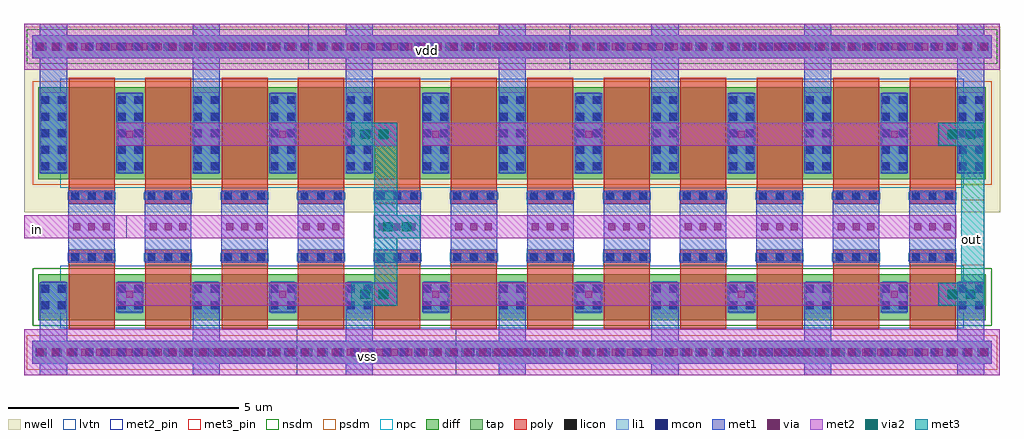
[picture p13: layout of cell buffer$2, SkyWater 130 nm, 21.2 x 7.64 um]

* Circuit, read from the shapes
.subckt buffer$2 in out vdd vss
XM1 n1 in vss vss sky130_fd_pr__nfet_01v8_lvt w=1 l=1 m=4
XM2 out n1 vss vss sky130_fd_pr__nfet_01v8_lvt w=1 l=1 m=8
XM3 n1 in vdd vdd sky130_fd_pr__pfet_01v8_lvt w=2 l=1 m=4
XM4 out n1 vdd vdd sky130_fd_pr__pfet_01v8_lvt w=2 l=1 m=8
.ends

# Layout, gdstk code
from math import pi, radians
import gdstk
lib = gdstk.Library(unit=1e-6, precision=5e-09)
def R(c, l, rs):  # rectangles x0, y0, x1, y1
    for r in rs: c.add(gdstk.rectangle(r[:2], r[2:], *l))
def A(c, l, x, y, w, h, nx, ny, dx, dy):  # array of equal rectangles
    R(c, l, [(x+i*dx, y+j*dy, x+i*dx+w, y+j*dy+h) for i in range(nx) for j in range(ny)])
nwell = (64, 20)
diff = (65, 20)
tap = (65, 44)
poly = (66, 20)
licon = (66, 44)
li1 = (67, 20)
mcon = (67, 44)
met1 = (68, 20)
via = (68, 44)
met2_pin = (69, 16)
met2 = (69, 20)
via2 = (69, 44)
met3_pin = (70, 16)
met3 = (70, 20)
nsdm = (93, 44)
psdm = (94, 20)
npc = (95, 20)
lvtn = (125, 44)

pfet_9 = lib.new_cell('pfet$9')
R(pfet_9, nwell, [(-0.305,-0.38,2.625,2.72)])
R(pfet_9, diff, [(0,0,2.32,2)])
R(pfet_9, poly, [(0.66,-0.2,1.66,2.2), (0.66,2.2,1.66,2.53)])
A(pfet_9, licon, 0.065, 0.195, 0.17, 0.17, 1, 5, 0, 0.36)
A(pfet_9, licon, 0.425, 0.195, 0.17, 0.17, 1, 5, 0, 0.36)
A(pfet_9, licon, 1.725, 0.195, 0.17, 0.17, 1, 5, 0, 0.36)
A(pfet_9, licon, 2.085, 0.195, 0.17, 0.17, 1, 5, 0, 0.36)
A(pfet_9, licon, 0.715, 2.28, 0.17, 0.17, 3, 1, 0.36, 0)
R(pfet_9, li1, [(0.065,0.115,0.595,1.885), (1.725,0.115,2.255,1.885), (0.635,2.28,1.685,2.45)])
A(pfet_9, mcon, 0.065, 0.195, 0.17, 0.17, 1, 5, 0, 0.36)
A(pfet_9, mcon, 0.425, 0.195, 0.17, 0.17, 1, 5, 0, 0.36)
A(pfet_9, mcon, 1.725, 0.195, 0.17, 0.17, 1, 5, 0, 0.36)
A(pfet_9, mcon, 2.085, 0.195, 0.17, 0.17, 1, 5, 0, 0.36)
A(pfet_9, mcon, 0.715, 2.28, 0.17, 0.17, 3, 1, 0.36, 0)
R(pfet_9, met1, [(0.035,0.135,0.625,1.865), (1.695,0.135,2.285,1.865), (0.655,2.25,1.665,2.48)])
R(pfet_9, psdm, [(-0.125,-0.125,2.445,2.125)])
R(pfet_9, npc, [(0.65,2.19,1.67,2.54)])
R(pfet_9, lvtn, [(0.48,-0.18,1.84,2.18)])

nfet_10 = lib.new_cell('nfet$10')
R(nfet_10, diff, [(0,0,2.32,1)])
R(nfet_10, poly, [(0.66,-0.2,1.66,1.2), (0.66,1.2,1.66,1.53)])
A(nfet_10, licon, 0.715, 1.28, 0.17, 0.17, 3, 1, 0.36, 0)
R(nfet_10, licon, [(0.065,0.235,0.235,0.405), (0.425,0.235,0.595,0.405), (1.725,0.235,1.895,0.405), (2.085,0.235,2.255,0.405), (0.065,0.595,0.235,0.765), (0.425,0.595,0.595,0.765), (1.725,0.595,1.895,0.765), (2.085,0.595,2.255,0.765)])
R(nfet_10, li1, [(0.065,0.155,0.595,0.845), (1.725,0.155,2.255,0.845), (0.635,1.28,1.685,1.45)])
A(nfet_10, mcon, 0.715, 1.28, 0.17, 0.17, 3, 1, 0.36, 0)
R(nfet_10, mcon, [(0.065,0.235,0.235,0.405), (0.425,0.235,0.595,0.405), (1.725,0.235,1.895,0.405), (2.085,0.235,2.255,0.405), (0.065,0.595,0.235,0.765), (0.425,0.595,0.595,0.765), (1.725,0.595,1.895,0.765), (2.085,0.595,2.255,0.765)])
R(nfet_10, met1, [(0.035,0.175,0.625,0.825), (1.695,0.175,2.285,0.825), (0.655,1.25,1.665,1.48)])
R(nfet_10, nsdm, [(-0.125,-0.125,2.445,1.125)])
R(nfet_10, npc, [(0.65,1.19,1.67,1.54)])
R(nfet_10, lvtn, [(0.48,-0.18,1.84,1.18)])

vias_gen_44 = lib.new_cell('vias_gen$44')
R(vias_gen_44, met1, [(0,0,1,0.5)])
A(vias_gen_44, via, 0.105, 0.175, 0.15, 0.15, 3, 1, 0.32, 0)
R(vias_gen_44, met2, [(0,0,1,0.5)])

vias_gen_3_9 = lib.new_cell('vias_gen$3$9')
R(vias_gen_3_9, met1, [(0,0,0.5,0.59)])
R(vias_gen_3_9, via, [(0.175,0.22,0.325,0.37)])
R(vias_gen_3_9, met2, [(0,0,0.5,0.59)])

vias_gen_5_2 = lib.new_cell('vias_gen$5$2')
R(vias_gen_5_2, met2, [(0,0,1,0.5)])
R(vias_gen_5_2, via2, [(0.2,0.15,0.4,0.35), (0.6,0.15,0.8,0.35)])
R(vias_gen_5_2, met3, [(0,0,1,0.5)])

vias_gen_4_2 = lib.new_cell('vias_gen$4$2')
R(vias_gen_4_2, nwell, [(-0.18,-0.18,21.015,0.68)])
R(vias_gen_4_2, tap, [(0,0,20.835,0.5)])
A(vias_gen_4_2, licon, 0.13, 0.165, 0.17, 0.17, 61, 1, 0.34, 0)
R(vias_gen_4_2, li1, [(0,0,20.835,0.5)])
A(vias_gen_4_2, mcon, 0.07, 0.165, 0.17, 0.17, 58, 1, 0.36, 0)
R(vias_gen_4_2, met1, [(0,0,20.835,0.5)])
A(vias_gen_4_2, via, 0.105, 0.175, 0.15, 0.15, 65, 1, 0.32, 0)
R(vias_gen_4_2, met2, [(0,0,20.835,0.5)])
R(vias_gen_4_2, nsdm, [(-0.125,-0.125,20.96,0.625)])

vias_gen_6_7 = lib.new_cell('vias_gen$6$7')
R(vias_gen_6_7, tap, [(0,0,20.835,0.5)])
A(vias_gen_6_7, licon, 0.13, 0.165, 0.17, 0.17, 61, 1, 0.34, 0)
R(vias_gen_6_7, li1, [(0,0,20.835,0.5)])
A(vias_gen_6_7, mcon, 0.07, 0.165, 0.17, 0.17, 58, 1, 0.36, 0)
R(vias_gen_6_7, met1, [(0,0,20.835,0.5)])
A(vias_gen_6_7, via, 0.105, 0.175, 0.15, 0.15, 65, 1, 0.32, 0)
R(vias_gen_6_7, met2, [(0,0,20.835,0.5)])
R(vias_gen_6_7, psdm, [(-0.125,-0.125,20.96,0.625)])

buffer_2 = lib.new_cell('buffer$2')
R(buffer_2, nwell, [(0,3.54,21.195,7.57)])
A(buffer_2, met1, 0.965, 2.45, 1.01, 1.56, 12, 1, 1.66, 0)
R(buffer_2, met2_pin, [(5.92,0,9.39,1), (0,2.98,2.23,3.48), (6.17,6.64,11.86,7.64)])
R(buffer_2, met3_pin, [(20.355,2.39,20.855,3.815)])
R(buffer_2, lvtn, [(0.79,1.02,20.41,2.38), (0.79,4.08,20.41,6.44)])
buffer_2.add(gdstk.FlexPath([(0.64,4.395),(0.64,7.64)], 0.59, ends="flush", simple_path=True, layer=68, datatype=20))  # met1
buffer_2.add(gdstk.FlexPath([(3.96,4.395),(3.96,7.64)], 0.59, ends="flush", simple_path=True, layer=68, datatype=20))  # met1
buffer_2.add(gdstk.FlexPath([(7.28,4.395),(7.28,7.64)], 0.59, ends="flush", simple_path=True, layer=68, datatype=20))  # met1
buffer_2.add(gdstk.FlexPath([(10.6,4.395),(10.6,7.64)], 0.59, ends="flush", simple_path=True, layer=68, datatype=20))  # met1
buffer_2.add(gdstk.FlexPath([(13.92,4.395),(13.92,7.64)], 0.59, ends="flush", simple_path=True, layer=68, datatype=20))  # met1
buffer_2.add(gdstk.FlexPath([(17.24,4.395),(17.24,7.64)], 0.59, ends="flush", simple_path=True, layer=68, datatype=20))  # met1
buffer_2.add(gdstk.FlexPath([(20.56,4.395),(20.56,7.64)], 0.59, ends="flush", simple_path=True, layer=68, datatype=20))  # met1
buffer_2.add(gdstk.FlexPath([(0.64,2.025),(0.64,0)], 0.59, ends="flush", simple_path=True, layer=68, datatype=20))  # met1
buffer_2.add(gdstk.FlexPath([(3.96,2.025),(3.96,0)], 0.59, ends="flush", simple_path=True, layer=68, datatype=20))  # met1
buffer_2.add(gdstk.FlexPath([(7.28,2.025),(7.28,0)], 0.59, ends="flush", simple_path=True, layer=68, datatype=20))  # met1
buffer_2.add(gdstk.FlexPath([(10.6,2.025),(10.6,0)], 0.59, ends="flush", simple_path=True, layer=68, datatype=20))  # met1
buffer_2.add(gdstk.FlexPath([(13.92,2.025),(13.92,0)], 0.59, ends="flush", simple_path=True, layer=68, datatype=20))  # met1
buffer_2.add(gdstk.FlexPath([(17.24,2.025),(17.24,0)], 0.59, ends="flush", simple_path=True, layer=68, datatype=20))  # met1
buffer_2.add(gdstk.FlexPath([(20.56,2.025),(20.56,0)], 0.59, ends="flush", simple_path=True, layer=68, datatype=20))  # met1
buffer_2.add(gdstk.FlexPath([(0,3.23),(6.955,3.23)], 0.5, ends="flush", simple_path=True, layer=69, datatype=20))  # met2
buffer_2.add(gdstk.FlexPath([(0,7.14),(21.19,7.14)], 1, ends="flush", simple_path=True, layer=69, datatype=20))  # met2
buffer_2.add(gdstk.FlexPath([(0,0.5),(21.19,0.5)], 1, ends="flush", simple_path=True, layer=69, datatype=20))  # met2
buffer_2.add(gdstk.FlexPath([(2.005,5.24),(8.105,5.24)], 0.5, ends="flush", simple_path=True, layer=69, datatype=20))  # met2
buffer_2.add(gdstk.FlexPath([(2.005,1.76),(8.105,1.76)], 0.5, ends="flush", simple_path=True, layer=69, datatype=20))  # met2
buffer_2.add(gdstk.FlexPath([(7.6,3.23),(20.24,3.23)], 0.5, ends="flush", simple_path=True, layer=69, datatype=20))  # met2
buffer_2.add(gdstk.FlexPath([(8.645,5.24),(20.855,5.24)], 0.5, ends="flush", simple_path=True, layer=69, datatype=20))  # met2
buffer_2.add(gdstk.FlexPath([(8.645,1.76),(20.855,1.76)], 0.5, ends="flush", simple_path=True, layer=69, datatype=20))  # met2
buffer_2.add(gdstk.FlexPath([(7.855,5.49),(7.855,1.51)], 0.5, ends="flush", simple_path=True, layer=70, datatype=20))  # met3
buffer_2.add(gdstk.FlexPath([(20.605,5.49),(20.605,1.51)], 0.5, ends="flush", simple_path=True, layer=70, datatype=20))  # met3
buffer_2.add(gdstk.Reference(pfet_9, (1.97,6.26), x_reflection=True))
buffer_2.add(gdstk.Reference(pfet_9, (0.31,6.26), x_reflection=True))
buffer_2.add(gdstk.Reference(pfet_9, (3.63,6.26), x_reflection=True))
buffer_2.add(gdstk.Reference(pfet_9, (5.29,6.26), x_reflection=True))
buffer_2.add(gdstk.Reference(nfet_10, (0.31,1.2)))
buffer_2.add(gdstk.Reference(nfet_10, (1.97,1.2)))
buffer_2.add(gdstk.Reference(nfet_10, (3.63,1.2)))
buffer_2.add(gdstk.Reference(nfet_10, (5.29,1.2)))
buffer_2.add(gdstk.Reference(pfet_9, (8.61,6.26), x_reflection=True))
buffer_2.add(gdstk.Reference(pfet_9, (6.95,6.26), x_reflection=True))
buffer_2.add(gdstk.Reference(pfet_9, (10.27,6.26), x_reflection=True))
buffer_2.add(gdstk.Reference(pfet_9, (11.93,6.26), x_reflection=True))
buffer_2.add(gdstk.Reference(pfet_9, (15.25,6.26), x_reflection=True))
buffer_2.add(gdstk.Reference(pfet_9, (13.59,6.26), x_reflection=True))
buffer_2.add(gdstk.Reference(pfet_9, (16.91,6.26), x_reflection=True))
buffer_2.add(gdstk.Reference(pfet_9, (18.57,6.26), x_reflection=True))
buffer_2.add(gdstk.Reference(nfet_10, (6.95,1.2)))
buffer_2.add(gdstk.Reference(nfet_10, (8.61,1.2)))
buffer_2.add(gdstk.Reference(nfet_10, (10.27,1.2)))
buffer_2.add(gdstk.Reference(nfet_10, (11.93,1.2)))
buffer_2.add(gdstk.Reference(nfet_10, (13.59,1.2)))
buffer_2.add(gdstk.Reference(nfet_10, (15.25,1.2)))
buffer_2.add(gdstk.Reference(nfet_10, (16.91,1.2)))
buffer_2.add(gdstk.Reference(nfet_10, (18.57,1.2)))
buffer_2.add(gdstk.Reference(vias_gen_44, (0.965,2.98)))
buffer_2.add(gdstk.Reference(vias_gen_44, (2.63,2.98)))
buffer_2.add(gdstk.Reference(vias_gen_44, (4.29,2.98)))
buffer_2.add(gdstk.Reference(vias_gen_44, (5.95,2.98)))
buffer_2.add(gdstk.Reference(vias_gen_3_9, (5.915,5.49), rotation=3*pi/2, x_reflection=True))
buffer_2.add(gdstk.Reference(vias_gen_3_9, (2.595,5.49), rotation=3*pi/2, x_reflection=True))
buffer_2.add(gdstk.Reference(vias_gen_3_9, (5.915,2.01), rotation=3*pi/2, x_reflection=True))
buffer_2.add(gdstk.Reference(vias_gen_3_9, (2.595,2.01), rotation=3*pi/2, x_reflection=True))
buffer_2.add(gdstk.Reference(vias_gen_44, (7.6,2.98)))
buffer_2.add(gdstk.Reference(vias_gen_44, (9.265,2.98)))
buffer_2.add(gdstk.Reference(vias_gen_44, (10.925,2.98)))
buffer_2.add(gdstk.Reference(vias_gen_44, (12.585,2.98)))
buffer_2.add(gdstk.Reference(vias_gen_44, (14.245,2.98)))
buffer_2.add(gdstk.Reference(vias_gen_44, (15.91,2.98)))
buffer_2.add(gdstk.Reference(vias_gen_44, (17.57,2.98)))
buffer_2.add(gdstk.Reference(vias_gen_44, (19.23,2.98)))
buffer_2.add(gdstk.Reference(vias_gen_5_2, (7.105,4.99)))
buffer_2.add(gdstk.Reference(vias_gen_3_9, (9.235,5.49), rotation=3*pi/2, x_reflection=True))
buffer_2.add(gdstk.Reference(vias_gen_5_2, (7.605,2.98)))
buffer_2.add(gdstk.Reference(vias_gen_5_2, (7.105,1.51)))
buffer_2.add(gdstk.Reference(vias_gen_3_9, (12.555,5.49), rotation=3*pi/2, x_reflection=True))
buffer_2.add(gdstk.Reference(vias_gen_3_9, (15.875,5.49), rotation=3*pi/2, x_reflection=True))
buffer_2.add(gdstk.Reference(vias_gen_3_9, (19.195,5.49), rotation=3*pi/2, x_reflection=True))
buffer_2.add(gdstk.Reference(vias_gen_3_9, (9.235,2.01), rotation=3*pi/2, x_reflection=True))
buffer_2.add(gdstk.Reference(vias_gen_3_9, (12.555,2.01), rotation=3*pi/2, x_reflection=True))
buffer_2.add(gdstk.Reference(vias_gen_3_9, (15.875,2.01), rotation=3*pi/2, x_reflection=True))
buffer_2.add(gdstk.Reference(vias_gen_3_9, (19.195,2.01), rotation=3*pi/2, x_reflection=True))
buffer_2.add(gdstk.Reference(vias_gen_5_2, (19.855,4.99)))
buffer_2.add(gdstk.Reference(vias_gen_5_2, (19.855,1.51)))
buffer_2.add(gdstk.Reference(vias_gen_4_2, (0.18,6.89)))
buffer_2.add(gdstk.Reference(vias_gen_6_7, (0.18,0.25)))
buffer_2.add(gdstk.Label('vdd', (8.755,7.065), layer=69, texttype=16))
buffer_2.add(gdstk.Label('vss', (7.45,0.415), layer=69, texttype=16))
buffer_2.add(gdstk.Label('in', (0.285,3.17), layer=69, texttype=16))
buffer_2.add(gdstk.Label('out', (20.58,2.95), layer=70, texttype=16))

lib.write_gds('buffer_2.gds')
